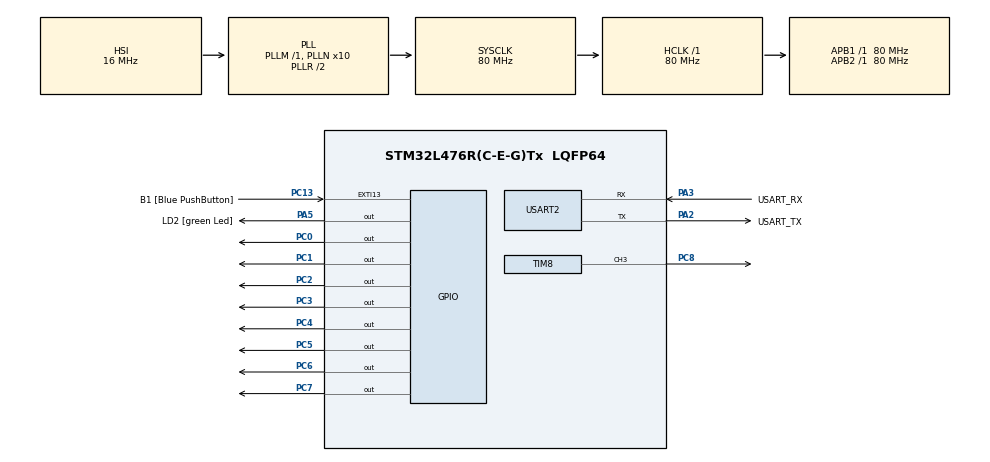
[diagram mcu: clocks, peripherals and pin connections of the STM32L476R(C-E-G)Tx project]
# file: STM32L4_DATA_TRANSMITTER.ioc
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Dma.Request0=TIM8_CH2
Dma.TIM8_CH2.0.Direction=DMA_MEMORY_TO_PERIPH
Dma.TIM8_CH2.0.Instance=DMA2_Channel7
Dma.TIM8_CH2.0.MemDataAlignment=DMA_MDATAALIGN_BYTE
Dma.TIM8_CH2.0.MemInc=DMA_MINC_ENABLE
Dma.TIM8_CH2.0.Mode=DMA_NORMAL
Dma.TIM8_CH2.0.PeriphDataAlignment=DMA_PDATAALIGN_BYTE
Dma.TIM8_CH2.0.PeriphInc=DMA_PINC_DISABLE
Dma.TIM8_CH2.0.Priority=DMA_PRIORITY_LOW
Mcu.Family=STM32L4
Mcu.Name=STM32L476R(C-E-G)Tx
Mcu.Package=LQFP64
NVIC.DMA2_Channel7_IRQn=true\:0\:0\:false\:false\:true\:false\:true
NVIC.PriorityGroup=NVIC_PRIORITYGROUP_4
PA13\ (JTMS-SWDIO).GPIO_Label=TMS
PA13\ (JTMS-SWDIO).Mode=Serial_Wire
PA13\ (JTMS-SWDIO).Signal=SYS_JTMS-SWDIO
PA14\ (JTCK-SWCLK).GPIO_Label=TCK
PA14\ (JTCK-SWCLK).Mode=Serial_Wire
PA14\ (JTCK-SWCLK).Signal=SYS_JTCK-SWCLK
PA2.GPIO_Label=USART_TX
PA2.GPIO_Mode=GPIO_MODE_AF_PP
PA2.GPIO_PuPd=GPIO_NOPULL
PA2.GPIO_Speed=GPIO_SPEED_FREQ_VERY_HIGH
PA2.Mode=Asynchronous
PA2.Signal=USART2_TX
PA3.GPIO_Label=USART_RX
PA3.GPIO_Mode=GPIO_MODE_AF_PP
PA3.GPIO_PuPd=GPIO_NOPULL
PA3.GPIO_Speed=GPIO_SPEED_FREQ_VERY_HIGH
PA3.Mode=Asynchronous
PA3.Signal=USART2_RX
PA5.GPIO_Label=LD2 [green Led]
PA5.GPIO_ModeDefaultOutputPP=GPIO_MODE_OUTPUT_PP
PA5.GPIO_PuPd=GPIO_NOPULL
PA5.GPIO_Speed=GPIO_SPEED_FREQ_LOW
PA5.Signal=GPIO_Output
PB3\ (JTDO-TRACESWO).GPIO_Label=SWO
PB3\ (JTDO-TRACESWO).Signal=SYS_JTDO-SWO
PC0.Signal=GPIO_Output
PC1.Signal=GPIO_Output
PC13.GPIO_Label=B1 [Blue PushButton]
PC13.GPIO_ModeDefaultEXTI=GPIO_MODE_IT_FALLING
PC13.GPIO_PuPd=GPIO_NOPULL
PC13.Signal=GPXTI13
PC14-OSC32_IN\ (PC14).Mode=LSE-External-Oscillator
PC14-OSC32_IN\ (PC14).Signal=RCC_OSC32_IN
PC15-OSC32_OUT\ (PC15).Mode=LSE-External-Oscillator
PC15-OSC32_OUT\ (PC15).Signal=RCC_OSC32_OUT
PC2.Signal=GPIO_Output
PC3.Signal=GPIO_Output
PC4.Signal=GPIO_Output
PC5.Signal=GPIO_Output
PC6.Signal=GPIO_Output
PC7.Signal=GPIO_Output
PC8.Signal=S_TIM8_CH3
PH0-OSC_IN\ (PH0).Signal=RCC_OSC_IN
PH1-OSC_OUT\ (PH1).Signal=RCC_OSC_OUT
ProjectManager.HeapSize=0x200
ProjectManager.StackSize=0x400
ProjectManager.TargetToolchain=STM32CubeIDE
RCC.ADCFreq_Value=64000000
RCC.AHBFreq_Value=80000000
RCC.APB1Freq_Value=80000000
RCC.APB1TimFreq_Value=80000000
RCC.APB2Freq_Value=80000000
RCC.APB2TimFreq_Value=80000000
RCC.CortexFreq_Value=80000000
RCC.HCLKFreq_Value=80000000
RCC.HSE_VALUE=8000000
RCC.HSI_VALUE=16000000
RCC.MSI_VALUE=4000000
RCC.PLLN=10
RCC.PLLSourceVirtual=RCC_PLLSOURCE_HSI
RCC.PREFETCH_ENABLE=1
RCC.SYSCLKFreq_VALUE=80000000
RCC.SYSCLKSource=RCC_SYSCLKSOURCE_PLLCLK
RCC.USBFreq_Value=64000000
RCC.VCOOutputFreq_Value=160000000
SH.S_TIM8_CH3.0=TIM8_CH3,PWM Generation3 CH3
TIM8.Channel-Output\ Compare2\ No\ Output=TIM_CHANNEL_2
TIM8.Channel-PWM\ Generation3\ CH3=TIM_CHANNEL_3
TIM8.Period=4
TIM8.Pulse-PWM\ Generation3\ CH3=2
USART2.VirtualMode-Asynchronous=VM_ASYNC
VP_TIM8_VS_ClockSourceINT.Mode=Internal
VP_TIM8_VS_no_output2.Mode=Output Compare2 No Output
board=NUCLEO-L476RG

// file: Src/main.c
/* USER CODE BEGIN Header */
/**
  ******************************************************************************
  * @file           : main.c
  * @brief          : Main program body
  ******************************************************************************
  * @attention
  *
  * <h2><center>&copy; Copyright (c) 2019 STMicroelectronics.
  * All rights reserved.</center></h2>
  *
  * This software component is licensed by ST under BSD 3-Clause license,
  * the "License"; You may not use this file except in compliance with the
  * License. You may obtain a copy of the License at:
  *                        opensource.org/licenses/BSD-3-Clause
  *
  ******************************************************************************
  */
/* USER CODE END Header */

#include "main.h"

TIM_HandleTypeDef htim8;
DMA_HandleTypeDef hdma_tim8_ch2;

UART_HandleTypeDef huart2;

void SystemClock_Config(void);
static void MX_GPIO_Init(void);
static void MX_DMA_Init(void);
static void MX_USART2_UART_Init(void);
static void MX_TIM8_Init(void);

/* USER CODE BEGIN 0 */
uint8_t volatile transferComplete = 0;

void TransferCpltCallback(struct __DMA_HandleTypeDef * hdma)
{
	transferComplete = 1;
}

void ErrorCallback(struct __DMA_HandleTypeDef * hdma)
{

}
/* USER CODE END 0 */

int main(void)
{
  /* USER CODE BEGIN 1 */
	uint8_t xData[256] = {0};
	int index = 0;
  /* USER CODE END 1 */

  /* MCU Configuration--------------------------------------------------------*/

  /* Reset of all peripherals, Initializes the Flash interface and the Systick. */
  HAL_Init();

  /* USER CODE BEGIN Init */
  for(index=0; index<256; )
  {
	  xData[index++] = 0xAA;
	  xData[index++] = 0xBB;
	  xData[index++] = 0xCC;
	  xData[index++] = 0xDD;

	  xData[index++] = 0xAC;
	  xData[index++] = 0xBA;
	  xData[index++] = 0xAD;
	  xData[index++] = 0xEA;
  }
  /* USER CODE END Init */

  /* Configure the system clock */
  SystemClock_Config();

  /* Initialize all configured peripherals */
  MX_GPIO_Init();
  MX_DMA_Init();
  MX_USART2_UART_Init();
  MX_TIM8_Init();
  /* USER CODE BEGIN 2 */
	hdma_tim8_ch2.XferCpltCallback  = TransferCpltCallback;
	hdma_tim8_ch2.XferErrorCallback = ErrorCallback;
  /* USER CODE END 2 */

  /* Infinite loop */
  /* USER CODE BEGIN WHILE */
  while (1)
  {
	  transferComplete=0;
	HAL_DMA_Start_IT(htim8.hdma[TIM_DMA_ID_CC2],
			(uint32_t)xData,
			(uint32_t)&GPIOC->ODR,
			sizeof(xData)/sizeof(__typeof__(xData[0])));

	__HAL_TIM_ENABLE_DMA(&htim8, TIM_DMA_CC2);
	HAL_TIM_PWM_Start(&htim8, TIM_CHANNEL_3);
	__HAL_TIM_ENABLE(&htim8);
	while(transferComplete==0)
	{
		__WFI();
	}
	HAL_Delay(3);
    /* USER CODE END WHILE */

  }
}

void SystemClock_Config(void)
{
  RCC_OscInitTypeDef RCC_OscInitStruct = {0};
  RCC_ClkInitTypeDef RCC_ClkInitStruct = {0};
  RCC_PeriphCLKInitTypeDef PeriphClkInit = {0};

  /** Initializes the CPU, AHB and APB busses clocks
  */
  RCC_OscInitStruct.OscillatorType = RCC_OSCILLATORTYPE_HSI;
  RCC_OscInitStruct.HSIState = RCC_HSI_ON;
  RCC_OscInitStruct.HSICalibrationValue = RCC_HSICALIBRATION_DEFAULT;
  RCC_OscInitStruct.PLL.PLLState = RCC_PLL_ON;
  RCC_OscInitStruct.PLL.PLLSource = RCC_PLLSOURCE_HSI;
  RCC_OscInitStruct.PLL.PLLM = 1;
  RCC_OscInitStruct.PLL.PLLN = 10;
  RCC_OscInitStruct.PLL.PLLP = RCC_PLLP_DIV7;
  RCC_OscInitStruct.PLL.PLLQ = RCC_PLLQ_DIV2;
  RCC_OscInitStruct.PLL.PLLR = RCC_PLLR_DIV2;
  if (HAL_RCC_OscConfig(&RCC_OscInitStruct) != HAL_OK)
  {
    Error_Handler();
  }
  /** Initializes the CPU, AHB and APB busses clocks
  */
  RCC_ClkInitStruct.ClockType = RCC_CLOCKTYPE_HCLK|RCC_CLOCKTYPE_SYSCLK
                              |RCC_CLOCKTYPE_PCLK1|RCC_CLOCKTYPE_PCLK2;
  RCC_ClkInitStruct.SYSCLKSource = RCC_SYSCLKSOURCE_PLLCLK;
  RCC_ClkInitStruct.AHBCLKDivider = RCC_SYSCLK_DIV1;
  RCC_ClkInitStruct.APB1CLKDivider = RCC_HCLK_DIV1;
  RCC_ClkInitStruct.APB2CLKDivider = RCC_HCLK_DIV1;

  if (HAL_RCC_ClockConfig(&RCC_ClkInitStruct, FLASH_LATENCY_4) != HAL_OK)
  {
    Error_Handler();
  }
  PeriphClkInit.PeriphClockSelection = RCC_PERIPHCLK_USART2;
  PeriphClkInit.Usart2ClockSelection = RCC_USART2CLKSOURCE_PCLK1;
  if (HAL_RCCEx_PeriphCLKConfig(&PeriphClkInit) != HAL_OK)
  {
    Error_Handler();
  }
  /** Configure the main internal regulator output voltage
  */
  if (HAL_PWREx_ControlVoltageScaling(PWR_REGULATOR_VOLTAGE_SCALE1) != HAL_OK)
  {
    Error_Handler();
  }
}

static void MX_TIM8_Init(void)
{

  TIM_ClockConfigTypeDef sClockSourceConfig = {0};
  TIM_MasterConfigTypeDef sMasterConfig = {0};
  TIM_OC_InitTypeDef sConfigOC = {0};
  TIM_BreakDeadTimeConfigTypeDef sBreakDeadTimeConfig = {0};

  htim8.Instance = TIM8;
  htim8.Init.Prescaler = 0;
  htim8.Init.CounterMode = TIM_COUNTERMODE_UP;
  htim8.Init.Period = 4;
  htim8.Init.ClockDivision = TIM_CLOCKDIVISION_DIV1;
  htim8.Init.RepetitionCounter = 0;
  htim8.Init.AutoReloadPreload = TIM_AUTORELOAD_PRELOAD_DISABLE;
  if (HAL_TIM_Base_Init(&htim8) != HAL_OK)
  {
    Error_Handler();
  }
  sClockSourceConfig.ClockSource = TIM_CLOCKSOURCE_INTERNAL;
  if (HAL_TIM_ConfigClockSource(&htim8, &sClockSourceConfig) != HAL_OK)
  {
    Error_Handler();
  }
  if (HAL_TIM_OC_Init(&htim8) != HAL_OK)
  {
    Error_Handler();
  }
  if (HAL_TIM_PWM_Init(&htim8) != HAL_OK)
  {
    Error_Handler();
  }
  sMasterConfig.MasterOutputTrigger = TIM_TRGO_RESET;
  sMasterConfig.MasterOutputTrigger2 = TIM_TRGO2_RESET;
  sMasterConfig.MasterSlaveMode = TIM_MASTERSLAVEMODE_DISABLE;
  if (HAL_TIMEx_MasterConfigSynchronization(&htim8, &sMasterConfig) != HAL_OK)
  {
    Error_Handler();
  }
  sConfigOC.OCMode = TIM_OCMODE_TIMING;
  sConfigOC.Pulse = 0;
  sConfigOC.OCPolarity = TIM_OCPOLARITY_HIGH;
  sConfigOC.OCNPolarity = TIM_OCNPOLARITY_HIGH;
  sConfigOC.OCFastMode = TIM_OCFAST_DISABLE;
  sConfigOC.OCIdleState = TIM_OCIDLESTATE_RESET;
  sConfigOC.OCNIdleState = TIM_OCNIDLESTATE_RESET;
  if (HAL_TIM_OC_ConfigChannel(&htim8, &sConfigOC, TIM_CHANNEL_2) != HAL_OK)
  {
    Error_Handler();
  }
  sConfigOC.OCMode = TIM_OCMODE_PWM1;
  sConfigOC.Pulse = 2;
  if (HAL_TIM_PWM_ConfigChannel(&htim8, &sConfigOC, TIM_CHANNEL_3) != HAL_OK)
  {
    Error_Handler();
  }
  sBreakDeadTimeConfig.OffStateRunMode = TIM_OSSR_DISABLE;
  sBreakDeadTimeConfig.OffStateIDLEMode = TIM_OSSI_DISABLE;
  sBreakDeadTimeConfig.LockLevel = TIM_LOCKLEVEL_OFF;
  sBreakDeadTimeConfig.DeadTime = 0;
  sBreakDeadTimeConfig.BreakState = TIM_BREAK_DISABLE;
  sBreakDeadTimeConfig.BreakPolarity = TIM_BREAKPOLARITY_HIGH;
  sBreakDeadTimeConfig.BreakFilter = 0;
  sBreakDeadTimeConfig.Break2State = TIM_BREAK2_DISABLE;
  sBreakDeadTimeConfig.Break2Polarity = TIM_BREAK2POLARITY_HIGH;
  sBreakDeadTimeConfig.Break2Filter = 0;
  sBreakDeadTimeConfig.AutomaticOutput = TIM_AUTOMATICOUTPUT_DISABLE;
  if (HAL_TIMEx_ConfigBreakDeadTime(&htim8, &sBreakDeadTimeConfig) != HAL_OK)
  {
    Error_Handler();
  }
  HAL_TIM_MspPostInit(&htim8);

}

static void MX_USART2_UART_Init(void)
{

  huart2.Instance = USART2;
  huart2.Init.BaudRate = 115200;
  huart2.Init.WordLength = UART_WORDLENGTH_8B;
  huart2.Init.StopBits = UART_STOPBITS_1;
  huart2.Init.Parity = UART_PARITY_NONE;
  huart2.Init.Mode = UART_MODE_TX_RX;
  huart2.Init.HwFlowCtl = UART_HWCONTROL_NONE;
  huart2.Init.OverSampling = UART_OVERSAMPLING_16;
  huart2.Init.OneBitSampling = UART_ONE_BIT_SAMPLE_DISABLE;
  huart2.AdvancedInit.AdvFeatureInit = UART_ADVFEATURE_NO_INIT;
  if (HAL_UART_Init(&huart2) != HAL_OK)
  {
    Error_Handler();
  }

}

static void MX_DMA_Init(void)
{

  /* DMA controller clock enable */
  __HAL_RCC_DMA2_CLK_ENABLE();

  /* DMA interrupt init */
  /* DMA2_Channel7_IRQn interrupt configuration */
  HAL_NVIC_SetPriority(DMA2_Channel7_IRQn, 0, 0);
  HAL_NVIC_EnableIRQ(DMA2_Channel7_IRQn);

}

static void MX_GPIO_Init(void)
{
  GPIO_InitTypeDef GPIO_InitStruct = {0};

  /* GPIO Ports Clock Enable */
  __HAL_RCC_GPIOC_CLK_ENABLE();
  __HAL_RCC_GPIOH_CLK_ENABLE();
  __HAL_RCC_GPIOA_CLK_ENABLE();
  __HAL_RCC_GPIOB_CLK_ENABLE();

  /*Configure GPIO pin Output Level */
  HAL_GPIO_WritePin(GPIOC, GPIO_PIN_0|GPIO_PIN_1|GPIO_PIN_2|GPIO_PIN_3
                          |GPIO_PIN_4|GPIO_PIN_5|GPIO_PIN_6|GPIO_PIN_7, GPIO_PIN_RESET);

  /*Configure GPIO pin Output Level */
  HAL_GPIO_WritePin(LD2_GPIO_Port, LD2_Pin, GPIO_PIN_RESET);

  /*Configure GPIO pin : B1_Pin */
  GPIO_InitStruct.Pin = B1_Pin;
  GPIO_InitStruct.Mode = GPIO_MODE_IT_FALLING;
  GPIO_InitStruct.Pull = GPIO_NOPULL;
  HAL_GPIO_Init(B1_GPIO_Port, &GPIO_InitStruct);

  /*Configure GPIO pins : PC0 PC1 PC2 PC3
                           PC4 PC5 PC6 PC7 */
  GPIO_InitStruct.Pin = GPIO_PIN_0|GPIO_PIN_1|GPIO_PIN_2|GPIO_PIN_3
                          |GPIO_PIN_4|GPIO_PIN_5|GPIO_PIN_6|GPIO_PIN_7;
  GPIO_InitStruct.Mode = GPIO_MODE_OUTPUT_PP;
  GPIO_InitStruct.Pull = GPIO_NOPULL;
  GPIO_InitStruct.Speed = GPIO_SPEED_FREQ_LOW;
  HAL_GPIO_Init(GPIOC, &GPIO_InitStruct);

  /*Configure GPIO pin : LD2_Pin */
  GPIO_InitStruct.Pin = LD2_Pin;
  GPIO_InitStruct.Mode = GPIO_MODE_OUTPUT_PP;
  GPIO_InitStruct.Pull = GPIO_NOPULL;
  GPIO_InitStruct.Speed = GPIO_SPEED_FREQ_LOW;
  HAL_GPIO_Init(LD2_GPIO_Port, &GPIO_InitStruct);

}

void Error_Handler(void)
{
}

/************************ (C) COPYRIGHT STMicroelectronics *****END OF FILE****/
